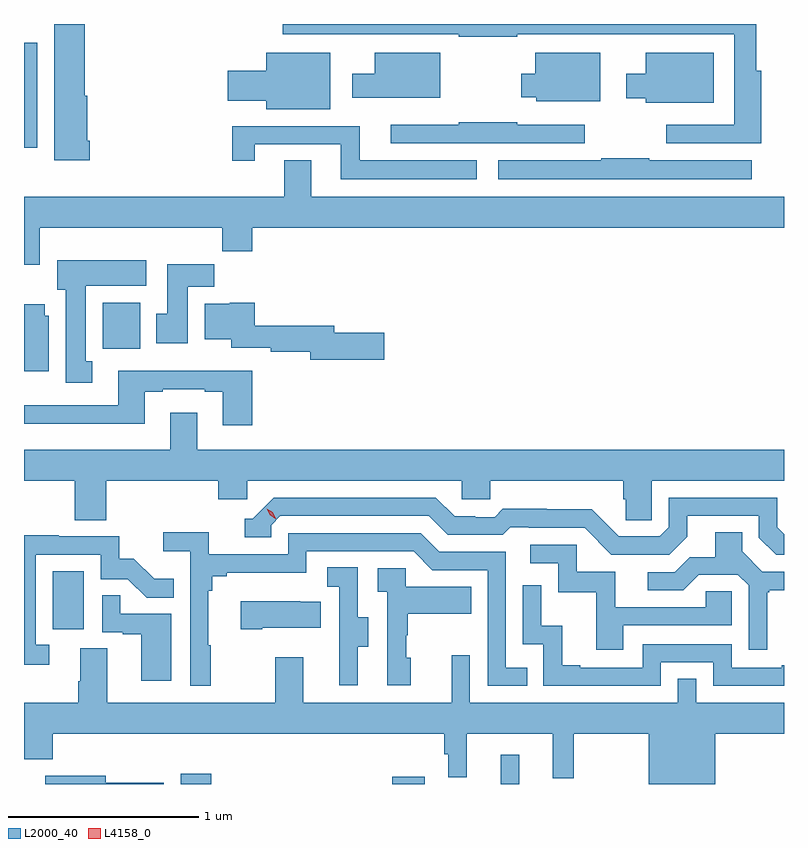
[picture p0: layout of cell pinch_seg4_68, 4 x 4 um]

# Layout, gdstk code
import gdstk
lib = gdstk.Library(unit=1e-6, precision=1e-09)
def R(c, l, rs):  # rectangles x0, y0, x1, y1
    for r in rs: c.add(gdstk.rectangle(r[:2], r[2:], *l))
def P(c, l, *ps):  # polygons
    for p in ps: c.add(gdstk.Polygon(p, *l))
L2000_40 = (2000, 40)
L4158_0 = (4158, 0)

pinch_seg4_68 = lib.new_cell('pinch_seg4_68')
R(pinch_seg4_68, L2000_40, [(1024.913,824.528,1025.074,824.581), (1026.026,824.528,1026.196,824.566), (1026.597,824.528,1026.694,824.683), (1024.238,825.342,1024.402,825.649), (1024.502,826.82,1024.699,827.062), (1024.088,827.878,1024.158,828.43)])
P(pinch_seg4_68, L2000_40, [(1027.967,828.283),(1027.943,828.283),(1027.943,828.528),(1025.451,828.528),(1025.451,828.474),(1026.376,828.474),(1026.376,828.462),(1026.683,828.462),(1026.683,828.474),(1027.827,828.474),(1027.827,827.997),(1027.467,827.997),(1027.467,827.901),(1027.967,827.901)],
  [(1024.433,827.914),(1024.42,827.914),(1024.42,828.15),(1024.408,828.15),(1024.408,828.528),(1024.247,828.528),(1024.247,827.81),(1024.433,827.81)],
  [(1027.12,828.376),(1026.779,828.376),(1026.779,828.265),(1026.704,828.265),(1026.704,828.143),(1026.783,828.143),(1026.783,828.122),(1027.12,828.122)],
  [(1025.701,828.376),(1025.363,828.376),(1025.363,828.283),(1025.16,828.283),(1025.16,828.125),(1025.363,828.125),(1025.363,828.08),(1025.701,828.08)],
  [(1026.28,828.376),(1025.933,828.376),(1025.933,828.265),(1025.816,828.265),(1025.816,828.14),(1026.28,828.14)],
  [(1027.717,828.376),(1027.361,828.376),(1027.361,828.265),(1027.259,828.265),(1027.259,828.136),(1027.361,828.136),(1027.361,828.113),(1027.717,828.113)],
  [(1027.039,827.997),(1026.683,827.997),(1026.683,828.01),(1026.376,828.01),(1026.376,827.998),(1026.018,827.998),(1026.018,827.901),(1027.039,827.901)],
  [(1026.472,827.812),(1025.854,827.812),(1025.854,827.991),(1025.185,827.991),(1025.185,827.808),(1025.302,827.808),(1025.302,827.895),(1025.756,827.895),(1025.756,827.711),(1026.472,827.711)],
  [(1027.918,827.812),(1027.379,827.812),(1027.379,827.822),(1027.126,827.822),(1027.126,827.812),(1026.585,827.812),(1026.585,827.711),(1027.918,827.711)],
  [(1024.171,827.456),(1025.131,827.456),(1025.131,827.332),(1025.288,827.332),(1025.288,827.456),(1028.088,827.456),(1028.088,827.62),(1025.599,827.62),(1025.599,827.81),(1025.459,827.81),(1025.459,827.62),(1024.088,827.62),(1024.088,827.262),(1024.171,827.262)],
  [(1024.447,826.754),(1024.414,826.754),(1024.414,827.15),(1024.732,827.15),(1024.732,827.284),(1024.262,827.284),(1024.262,827.13),(1024.307,827.13),(1024.307,826.641),(1024.447,826.641)],
  [(1024.951,827.144),(1025.09,827.144),(1025.09,827.263),(1024.841,827.263),(1024.841,827.004),(1024.784,827.004),(1024.784,826.848),(1024.951,826.848)],
  [(1025.983,826.904),(1025.722,826.904),(1025.722,826.94),(1025.303,826.94),(1025.303,827.062),(1025.172,827.062),(1025.172,827.056),(1025.039,827.056),(1025.039,826.868),(1025.18,826.868),(1025.18,826.824),(1025.386,826.824),(1025.386,826.804),(1025.594,826.804),(1025.594,826.762),(1025.983,826.762)],
  [(1024.219,826.992),(1024.198,826.992),(1024.198,827.053),(1024.088,827.053),(1024.088,826.7),(1024.219,826.7)],
  [(1025.288,826.702),(1024.583,826.702),(1024.583,826.521),(1024.088,826.521),(1024.088,826.424),(1024.723,826.424),(1024.723,826.593),(1024.819,826.593),(1024.819,826.605),(1025.039,826.605),(1025.039,826.593),(1025.135,826.593),(1025.135,826.416),(1025.288,826.416)],
  [(1024.52,826.124),(1025.111,826.124),(1025.111,826.026),(1025.262,826.026),(1025.262,826.124),(1026.393,826.124),(1026.393,826.026),(1026.543,826.026),(1026.543,826.124),(1027.241,826.124),(1027.241,826.026),(1027.255,826.026),(1027.255,825.916),(1027.392,825.916),(1027.392,826.124),(1028.088,826.124),(1028.088,826.288),(1024.999,826.288),(1024.999,826.483),(1024.859,826.483),(1024.859,826.288),(1024.088,826.288),(1024.088,826.124),(1024.355,826.124),(1024.355,825.916),(1024.52,825.916)],
  [(1027.579,825.829),(1027.579,825.939),(1027.956,825.939),(1027.956,825.825),(1028.046,825.735),(1028.088,825.735),(1028.088,825.843),(1028.052,825.879),(1028.052,826.035),(1027.482,826.035),(1027.482,825.879),(1027.434,825.831),(1027.218,825.831),(1027.076,825.973),(1026.84,825.973),(1026.84,825.976),(1026.607,825.976),(1026.565,825.933),(1026.462,825.933),(1026.462,825.936),(1026.355,825.936),(1026.256,826.035),(1025.403,826.035),(1025.292,825.924),(1025.249,825.924),(1025.249,825.828),(1025.388,825.828),(1025.388,825.891),(1025.436,825.939),(1026.219,825.939),(1026.318,825.84),(1026.607,825.84),(1026.646,825.879),(1026.745,825.879),(1026.745,825.876),(1027.038,825.876),(1027.179,825.735),(1027.485,825.735)],
  [(1027.999,825.537),(1028.011,825.537),(1028.011,825.548),(1028.088,825.548),(1028.088,825.645),(1027.974,825.645),(1027.867,825.752),(1027.867,825.854),(1027.727,825.854),(1027.727,825.722),(1027.592,825.722),(1027.512,825.642),(1027.371,825.642),(1027.371,825.549),(1027.558,825.549),(1027.639,825.63),(1027.845,825.63),(1027.902,825.573),(1027.902,825.234),(1027.999,825.234)],
  [(1025.071,825.257),(1025.059,825.257),(1025.059,825.545),(1025.078,825.545),(1025.078,825.622),(1025.155,825.622),(1025.155,825.641),(1025.574,825.641),(1025.574,825.753),(1026.138,825.753),(1026.237,825.654),(1026.528,825.654),(1026.528,825.045),(1026.737,825.045),(1026.737,825.141),(1026.624,825.141),(1026.624,825.75),(1026.274,825.75),(1026.175,825.849),(1025.478,825.849),(1025.478,825.738),(1025.06,825.738),(1025.06,825.854),(1024.821,825.854),(1024.821,825.752),(1024.962,825.752),(1024.962,825.045),(1025.071,825.045)],
  [(1024.222,825.261),(1024.149,825.261),(1024.149,825.735),(1024.491,825.735),(1024.491,825.606),(1024.635,825.606),(1024.733,825.508),(1024.877,825.508),(1024.877,825.607),(1024.773,825.607),(1024.666,825.714),(1024.59,825.714),(1024.59,825.831),(1024.271,825.831),(1024.271,825.836),(1024.088,825.836),(1024.088,825.156),(1024.222,825.156)],
  [(1027.243,825.363),(1027.812,825.363),(1027.812,825.543),(1027.675,825.543),(1027.675,825.459),(1027.201,825.459),(1027.201,825.645),(1026.996,825.645),(1026.996,825.786),(1026.753,825.786),(1026.753,825.69),(1026.9,825.69),(1026.9,825.537),(1027.099,825.537),(1027.099,825.234),(1027.243,825.234)],
  [(1025.845,825.25),(1025.899,825.25),(1025.899,825.405),(1025.844,825.405),(1025.844,825.668),(1025.685,825.668),(1025.685,825.565),(1025.748,825.565),(1025.748,825.261),(1025.747,825.261),(1025.747,825.048),(1025.845,825.048)],
  [(1026.124,825.192),(1026.099,825.192),(1026.099,825.311),(1026.109,825.311),(1026.109,825.425),(1026.443,825.425),(1026.443,825.565),(1026.096,825.565),(1026.096,825.663),(1025.949,825.663),(1025.949,825.539),(1026,825.539),(1026,825.048),(1026.124,825.048)],
  [(1027.44,825.168),(1027.716,825.168),(1027.716,825.045),(1028.088,825.045),(1028.088,825.154),(1028.075,825.154),(1028.075,825.141),(1027.812,825.141),(1027.812,825.264),(1027.344,825.264),(1027.344,825.141),(1027.015,825.141),(1027.015,825.154),(1026.92,825.154),(1026.92,825.362),(1026.81,825.362),(1026.81,825.574),(1026.714,825.574),(1026.714,825.264),(1026.822,825.264),(1026.822,825.045),(1027.44,825.045)],
  [(1024.864,825.423),(1024.595,825.423),(1024.595,825.521),(1024.5,825.521),(1024.5,825.327),(1024.607,825.327),(1024.607,825.315),(1024.706,825.315),(1024.706,825.072),(1024.864,825.072)],
  [(1025.341,825.35),(1025.651,825.35),(1025.651,825.487),(1025.543,825.487),(1025.543,825.49),(1025.228,825.49),(1025.228,825.343),(1025.341,825.343)],
  [(1027.726,824.792),(1028.088,824.792),(1028.088,824.956),(1027.626,824.956),(1027.626,825.083),(1027.53,825.083),(1027.53,824.956),(1026.435,824.956),(1026.435,825.205),(1026.338,825.205),(1026.338,824.956),(1025.557,824.956),(1025.557,825.196),(1025.41,825.196),(1025.41,824.956),(1024.525,824.956),(1024.525,825.242),(1024.385,825.242),(1024.385,825.068),(1024.373,825.068),(1024.373,824.956),(1024.088,824.956),(1024.088,824.657),(1024.238,824.657),(1024.238,824.792),(1026.301,824.792),(1026.301,824.685),(1026.321,824.685),(1026.321,824.564),(1026.419,824.564),(1026.419,824.792),(1026.872,824.792),(1026.872,824.559),(1026.982,824.559),(1026.982,824.792),(1027.376,824.792),(1027.376,824.528),(1027.726,824.528)],
  [(1024.824,824.534),(1024.519,824.534),(1024.519,824.572),(1024.201,824.572),(1024.201,824.528),(1024.824,824.528)])
P(pinch_seg4_68, L4158_0, [(1025.411,825.924),(1025.381,825.944),(1025.365,825.977),(1025.365,825.977),(1025.365,825.977),(1025.396,825.957),(1025.412,825.925),(1025.412,825.924)])

lib.write_gds('pinch_seg4_68.gds')
